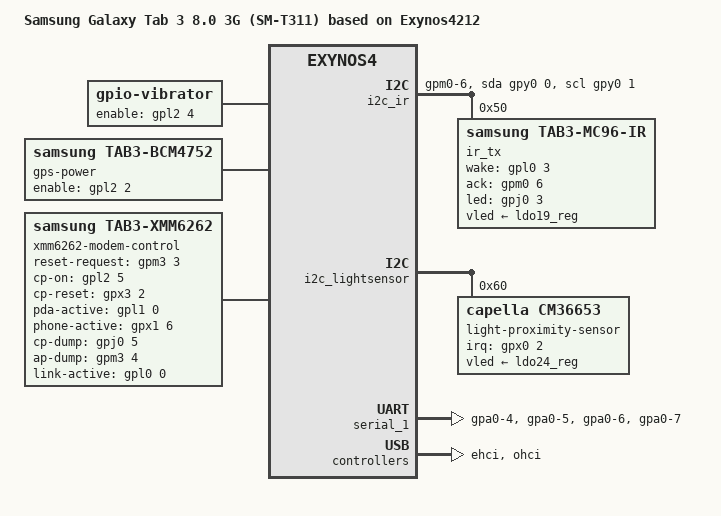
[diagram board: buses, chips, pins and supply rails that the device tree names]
// SPDX-License-Identifier: GPL-2.0
/*
 * Samsung's Exynos4212 based Galaxy Tab 3 8.0 3G board device tree
 * source
 *
 * Copyright (c) 2013 Samsung Electronics Co., Ltd.
 *		http://www.samsung.com
 */

/dts-v1/;
#include "exynos4212-tab3.dtsi"

/ {
	model = "Samsung Galaxy Tab 3 8.0 3G (SM-T311) based on Exynos4212";
	compatible = "samsung,t311", "samsung,tab3", "samsung,exynos4212", "samsung,exynos4";
	chassis-type = "tablet";

	i2c_ir: i2c-gpio-ir {
		compatible = "i2c-gpio";
		pinctrl-names = "default";
		pinctrl-0 = <&ir_ack_default>;
		sda-gpios = <&gpy0 0 (GPIO_ACTIVE_HIGH | GPIO_OPEN_DRAIN)>;
		scl-gpios = <&gpy0 1 (GPIO_ACTIVE_HIGH | GPIO_OPEN_DRAIN)>;
		i2c-gpio,delay-us = <2>;
		#address-cells = <1>;
		#size-cells = <0>;

		ir_tx: ir@50 {
			compatible = "samsung,tab3-mc96-ir";
			reg = <0x50>;
			wake-gpios = <&gpl0 3 GPIO_ACTIVE_HIGH>;
			ack-gpios = <&gpm0 6 GPIO_ACTIVE_HIGH>;
			led-gpios = <&gpj0 3 GPIO_ACTIVE_HIGH>;
			vled-supply = <&ldo19_reg>;
		};
	};

	vibrator {
		compatible = "gpio-vibrator";
		enable-gpios = <&gpl2 4 GPIO_ACTIVE_HIGH>;
	};

	gps-power {
		compatible = "samsung,tab3-bcm4752";
		enable-gpios = <&gpl2 2 GPIO_ACTIVE_HIGH>;
		clocks = <&s5m8767_osc S2MPS11_CLK_AP>;
		clock-names = "lpo";
	};

	xmm6262-modem-control {
		compatible = "samsung,tab3-xmm6262";
		reset-request-gpios = <&gpm3 3 GPIO_ACTIVE_HIGH>;
		cp-on-gpios = <&gpl2 5 GPIO_ACTIVE_HIGH>;
		cp-reset-gpios = <&gpx3 2 GPIO_ACTIVE_HIGH>;
		pda-active-gpios = <&gpl1 0 GPIO_ACTIVE_HIGH>;
		phone-active-gpios = <&gpx1 6 GPIO_ACTIVE_HIGH>;
		cp-dump-gpios = <&gpj0 5 GPIO_ACTIVE_HIGH>;
		ap-dump-gpios = <&gpm3 4 GPIO_ACTIVE_HIGH>;
		link-active-gpios = <&gpl0 0 GPIO_ACTIVE_HIGH>;
		host-wake-gpios = <&gpx1 1 GPIO_ACTIVE_HIGH>;
		slave-wake-gpios = <&gpx1 0 GPIO_ACTIVE_HIGH>;
		suspend-request-gpios = <&gpm2 4 GPIO_ACTIVE_HIGH>;
		pinctrl-names = "default";
		pinctrl-0 = <&xmm_hostwake_default &xmm_phone_active_default
			     &xmm_cp_rst_default &xmm_ap_dump_default>;
		wakeup-source;
	};
};

&i2c_lightsensor {
	status = "okay";

	light-proximity-sensor@60 {
		compatible = "capella,cm36653";
		reg = <0x60>;
		interrupt-parent = <&gpx0>;
		interrupts = <2 IRQ_TYPE_EDGE_BOTH>;
		vled-supply = <&ldo24_reg>;
		capella,proximity-threshold-low = <8>;
		capella,proximity-threshold-high = <10>;
		wakeup-source;
	};
};

&pinctrl_1 {
	ir_ack_default: ir-ack-default-pins {
		samsung,pins = "gpm0-6";
		samsung,pin-function = <EXYNOS_PIN_FUNC_INPUT>;
		samsung,pin-pud = <EXYNOS_PIN_PULL_UP>;
		samsung,pin-drv = <EXYNOS4_PIN_DRV_LV1>;
	};

	xmm_hostwake_default: xmm-hostwake-default-pins {
		samsung,pins = "gpx1-1";
		samsung,pin-function = <EXYNOS_PIN_FUNC_INPUT>;
		samsung,pin-pud = <EXYNOS_PIN_PULL_NONE>;
		samsung,pin-drv = <EXYNOS4_PIN_DRV_LV1>;
	};

	xmm_phone_active_default: xmm-phone-active-default-pins {
		samsung,pins = "gpx1-6";
		samsung,pin-function = <EXYNOS_PIN_FUNC_INPUT>;
		samsung,pin-pud = <EXYNOS_PIN_PULL_DOWN>;
		samsung,pin-drv = <EXYNOS4_PIN_DRV_LV1>;
	};

	xmm_cp_rst_default: xmm-cp-rst-default-pins {
		samsung,pins = "gpx3-2";
		samsung,pin-function = <EXYNOS_PIN_FUNC_INPUT>;
		samsung,pin-pud = <EXYNOS_PIN_PULL_NONE>;
		samsung,pin-drv = <EXYNOS4_PIN_DRV_LV1>;
	};

	xmm_ap_dump_default: xmm-ap-dump-default-pins {
		samsung,pins = "gpm3-4";
		samsung,pin-function = <EXYNOS_PIN_FUNC_INPUT>;
		samsung,pin-pud = <EXYNOS_PIN_PULL_DOWN>;
		samsung,pin-drv = <EXYNOS4_PIN_DRV_LV1>;
	};
};

&pinctrl_0 {
	gps_uart_rx: gps-uart-rx-pins {
		samsung,pins = "gpa0-4";
		samsung,pin-function = <EXYNOS_PIN_FUNC_2>;
		samsung,pin-pud = <EXYNOS_PIN_PULL_UP>;
		samsung,pin-drv = <EXYNOS4_PIN_DRV_LV1>;
	};

	gps_uart_tx: gps-uart-tx-pins {
		samsung,pins = "gpa0-5";
		samsung,pin-function = <EXYNOS_PIN_FUNC_2>;
		samsung,pin-pud = <EXYNOS_PIN_PULL_NONE>;
		samsung,pin-drv = <EXYNOS4_PIN_DRV_LV1>;
	};

	gps_uart_fctl: gps-uart-fctl-pins {
		samsung,pins = "gpa0-6", "gpa0-7";
		samsung,pin-function = <EXYNOS_PIN_FUNC_2>;
		samsung,pin-pud = <EXYNOS_PIN_PULL_NONE>;
		samsung,pin-drv = <EXYNOS4_PIN_DRV_LV1>;
	};
};

&serial_1 {
	pinctrl-names = "default";
	pinctrl-0 = <&gps_uart_rx &gps_uart_tx &gps_uart_fctl>;
	uart-has-rtscts;
	/delete-property/ dmas;
	/delete-property/ dma-names;
	samsung,uart-force-hw-flow-control;
	samsung,uart-block-deep-idle-while-open;
	samsung,uart-tx-trigger-level = <8>;
	samsung,uart-rx-trigger-level = <32>;
	status = "okay";
};

/* Pin control sleep state overrides */
&sleep0 {
	PIN_SLP(gpa0-4, INPUT, UP);
	PIN_SLP(gpa0-5, INPUT, UP);
	PIN_SLP(gpa0-6, INPUT, DOWN);
	PIN_SLP(gpa0-7, INPUT, DOWN);

	PIN_SLP(gpb-5, INPUT, UP);
};

&sleep1 {
	PIN_SLP(gpl0-0, OUT0, NONE);
	PIN_SLP(gpl1-0, OUT0, NONE);
	PIN_SLP(gpl2-2, INPUT, DOWN);
	PIN_SLP(gpl2-4, OUT0, NONE);
	PIN_SLP(gpm3-3, OUT1, NONE);
};

/* XMM-A isolation: enable inherited Exynos EHCI only. */
&ehci {
	status = "okay";
};

/* Samsung T311 host topology includes the real OHCI companion. */
&ohci {
	status = "okay";
};

&tab3_charger {
	t311,otg-boost-experimental;
	phys = <&exynos_usbphy 1>;
	phy-names = "usb2-host";
};
